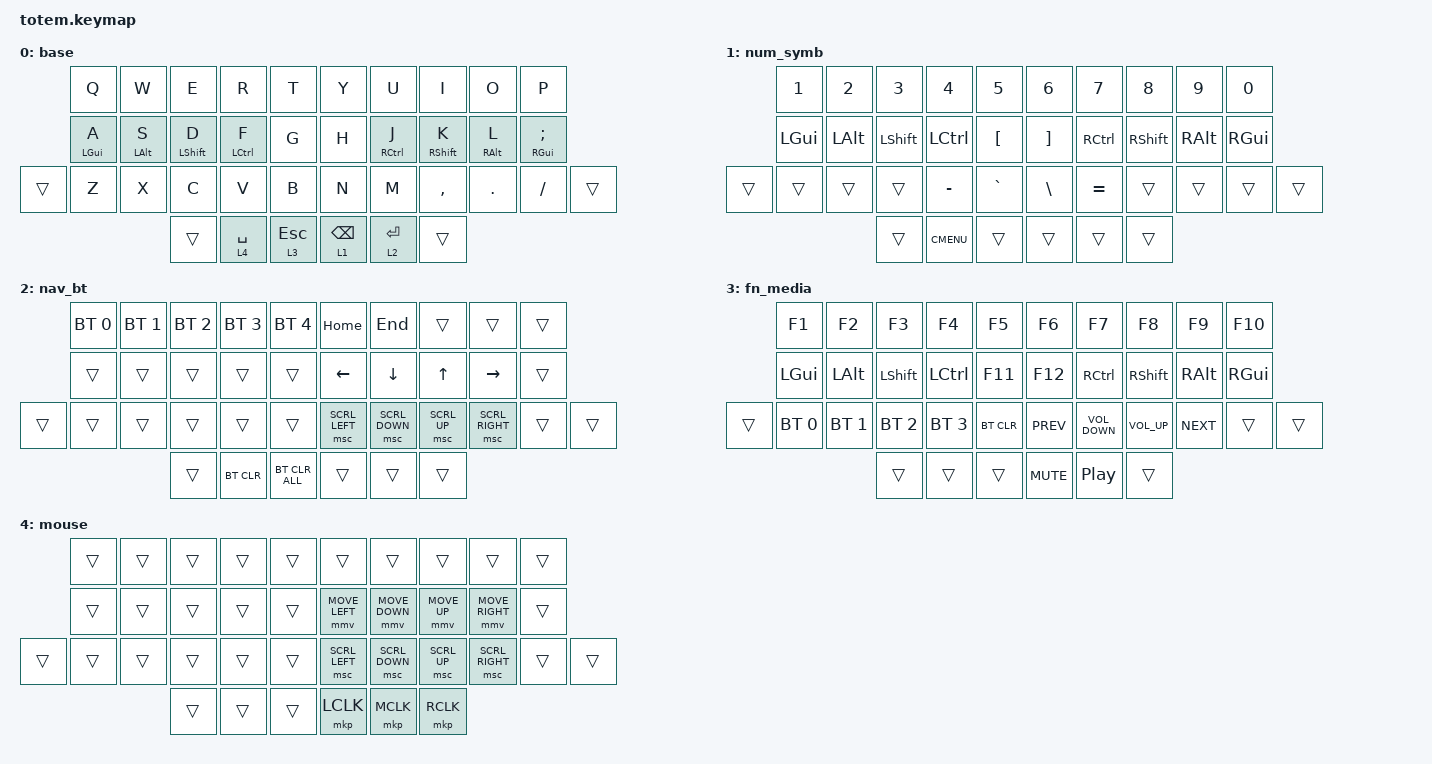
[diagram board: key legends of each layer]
//
//                                                        ▀▀▀▀▀     ▀▀▀▀▀          ▀▀█▀▀
//                                                        ▄▀▀▀▄  ▄  ▄▀▀▀▄  ▄  ▄▀▀▀▄  █  ▄▀▀▀▄
//                                                        █   █  █  █   █  █  █   █  █  █   █
//                                                         ▀▀▀   █   ▀▀▀   █   ▀▀▀   ▀   ▀▀▀
//                                                               █      ▄▄▄█▄▄▄    █   █  
//                                                               ▀      █  █  █     █▄█
//                                                             ▀▀▀▀▀    █  █  █      ▀
//                                                                      ▀  ▀  ▀
//
// ▄▄▄▄▄▄▄▄▄▄▄▄▄▄▄▄▄▄▄▄▄▄▄▄▄▄▄▄▄▄▄▄▄▄▄▄▄▄▄▄▄▄▄▄▄▄▄▄▄▄▄▄▄▄▄▄▄▄▄▄▄▄▄▄▄▄▄▄▄▄▄▄▄▄▄▄▄▄▄▄▄▄▄▄▄▄▄▄▄▄▄▄▄▄▄▄▄▄▄▄▄▄▄▄▄▄▄▄▄▄▄▄▄▄▄▄▄▄▄▄▄▄▄▄▄▄▄▄▄▄▄▄▄▄▄▄▄▄▄▄▄▄▄▄▄▄▄▄▄

#include <behaviors.dtsi>
#include <dt-bindings/zmk/bt.h>
#include <dt-bindings/zmk/keys.h>
#include <dt-bindings/zmk/pointing.h>

/ {
    behaviors {
        HRM_L: HRM_L {
            compatible = "zmk,behavior-hold-tap";
            label = "HRM_L";
            bindings = <&kp>, <&kp>;

            #binding-cells = <2>;
            tapping-term-ms = <280>;
            flavor = "balanced";
            require-prior-idle-ms = <165>;
            hold-trigger-key-positions = <5 6 7 8 9 15 16 17 18 19 26 27 28 29 30 31 35 36 37>;
            hold-trigger-on-release;
            quick-tap-ms = <175>;
        };

        HRM_R: HRM_R {
            compatible = "zmk,behavior-hold-tap";
            label = "HRM_R";
            bindings = <&kp>, <&kp>;

            #binding-cells = <2>;
            tapping-term-ms = <280>;
            flavor = "balanced";
            require-prior-idle-ms = <165>;
            hold-trigger-on-release;
            hold-trigger-key-positions = <0 1 2 3 4 10 11 12 13 14 20 21 22 23 24 25 32 33 34>;
            quick-tap-ms = <175>;
        };
    };

    combos {
        compatible = "zmk,combos";

        COMBO_DEL {
            bindings = <&kp DEL>;
            key-positions = <1 2>;
        };

        COMBO_QUOTE {
            bindings = <&kp SINGLE_QUOTE>;
            key-positions = <17 18>;
        };

        COMBO_TAB {
            bindings = <&kp TAB>;
            key-positions = <11 12>;
        };

        COMBO_PS {
            bindings = <&kp PRINTSCREEN>;
            key-positions = <30 19>;
        };

        COMBO_CALC {
            bindings = <&kp K_CALCULATOR>;
            key-positions = <10 21>;
        };

        COMBO_HOME {
            bindings = <&kp HOME>;
            key-positions = <0 10>;
        };

        COMBO_END {
            bindings = <&kp END>;
            key-positions = <9 19>;
        };
    };

    keymap {
        compatible = "zmk,keymap";

        base {
            bindings = <
        &kp Q              &kp W              &kp E                &kp R           &kp T           &kp Y            &kp U           &kp I                 &kp O               &kp P
        &HRM_L LEFT_GUI A  &HRM_L LEFT_ALT S  &HRM_L LEFT_SHIFT D  &HRM_L LCTRL F  &kp G           &kp H            &HRM_R RCTRL J  &HRM_R RIGHT_SHIFT K  &HRM_R RIGHT_ALT L  &HRM_R RIGHT_GUI SEMI
&trans  &kp Z              &kp X              &kp C                &kp V           &kp B           &kp N            &kp M           &kp COMMA             &kp DOT             &kp FSLH               &trans
                                              &trans               &lt 4 SPACE     &lt 3 ESCAPE    &lt 1 BACKSPACE  &lt 2 ENTER     &trans
            >;
        };

        num_symb {
            bindings = <
        &kp NUMBER_1  &kp NUMBER_2  &kp NUMBER_3    &kp NUMBER_4  &kp NUMBER_5        &kp NUMBER_6       &kp NUMBER_7  &kp NUMBER_8     &kp NUMBER_9   &kp NUMBER_0
        &kp LEFT_GUI  &kp LEFT_ALT  &kp LEFT_SHIFT  &kp LCTRL     &kp LEFT_BRACKET    &kp RIGHT_BRACKET  &kp RCTRL     &kp RIGHT_SHIFT  &kp RIGHT_ALT  &kp RIGHT_GUI
&trans  &trans        &trans        &trans          &kp MINUS     &kp GRAVE           &kp BACKSLASH      &kp EQUAL     &trans           &trans         &trans         &trans
                                    &trans          &kp K_CMENU   &trans              &trans             &trans        &trans
            >;
        };

        nav_bt {
            bindings = <
        &bt BT_SEL 0  &bt BT_SEL 1  &bt BT_SEL 2  &bt BT_SEL 3  &bt BT_SEL 4      &kp HOME        &kp END         &trans        &trans           &trans
        &trans        &trans        &trans        &trans        &trans            &kp LEFT        &kp DOWN        &kp UP        &kp RIGHT        &trans
&trans  &trans        &trans        &trans        &trans        &trans            &msc SCRL_LEFT  &msc SCRL_DOWN  &msc SCRL_UP  &msc SCRL_RIGHT  &trans  &trans
                                    &trans        &bt BT_CLR    &bt BT_CLR_ALL    &trans          &trans          &trans
            >;
        };

        fn_media {
            bindings = <
        &kp F1        &kp F2        &kp F3          &kp F4        &kp F5        &kp F6      &kp F7             &kp F8           &kp F9         &kp F10
        &kp LEFT_GUI  &kp LEFT_ALT  &kp LEFT_SHIFT  &kp LCTRL     &kp F11       &kp F12     &kp RCTRL          &kp RIGHT_SHIFT  &kp RIGHT_ALT  &kp RIGHT_GUI
&trans  &bt BT_SEL 0  &bt BT_SEL 1  &bt BT_SEL 2    &bt BT_SEL 3  &bt BT_CLR    &kp C_PREV  &kp C_VOLUME_DOWN  &kp C_VOLUME_UP  &kp C_NEXT     &trans         &trans
                                    &trans          &trans        &trans        &kp C_MUTE  &kp C_PLAY_PAUSE   &trans
            >;
        };

        mouse {
            bindings = <
        &trans  &trans  &trans  &trans  &trans    &trans          &trans          &trans        &trans           &trans
        &trans  &trans  &trans  &trans  &trans    &mmv MOVE_LEFT  &mmv MOVE_DOWN  &mmv MOVE_UP  &mmv MOVE_RIGHT  &trans
&trans  &trans  &trans  &trans  &trans  &trans    &msc SCRL_LEFT  &msc SCRL_DOWN  &msc SCRL_UP  &msc SCRL_RIGHT  &trans  &trans
                        &trans  &trans  &trans    &mkp LCLK       &mkp MCLK       &mkp RCLK
            >;
        };
    };

    conditional_layers { compatible = "zmk,conditional-layers"; };
};
